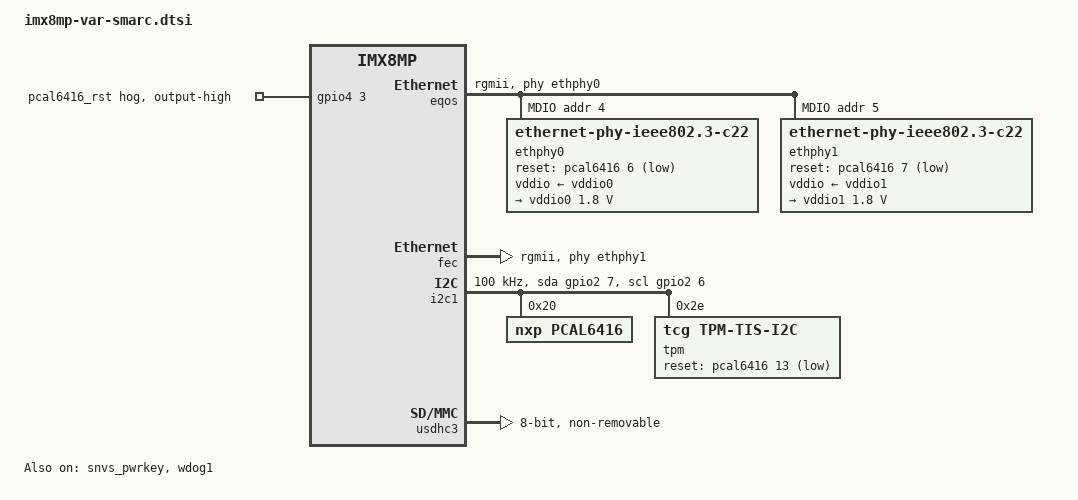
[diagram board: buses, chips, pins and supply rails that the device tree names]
// SPDX-License-Identifier: (GPL-2.0+ OR MIT)
/*
 * Copyright 2019 NXP
 * Copyright 2026 Variscite Ltd.
 */

/dts-v1/;

#include <dt-bindings/usb/pd.h>
#include <dt-bindings/net/mxl-8611x.h>
#include "imx8mp.dtsi"

/ {
	compatible = "variscite,imx8mp-var-smarc", "fsl,imx8mp";

	aliases {
		ethernet0 = &eqos;
		ethernet1 = &fec;
	};
};

&eqos {
	pinctrl-names = "default";
	pinctrl-0 = <&pinctrl_eqos>;
	phy-mode = "rgmii";
	phy-handle = <&ethphy0>;
	status = "okay";

	mdio {
		compatible = "snps,dwmac-mdio";
		#address-cells = <1>;
		#size-cells = <0>;

		ethphy0: ethernet-phy@4 {
			compatible = "ethernet-phy-ieee802.3-c22";
			reg = <4>;
			reset-gpios = <&pcal6416 6 GPIO_ACTIVE_LOW>;
			reset-assert-us = <10000>;
			reset-deassert-us = <100000>;
			vddio-supply = <&vddio0>;
			ti,min-output-impedance;
			enet-phy-lane-no-swap;

			vddio0: vddio-regulator {
				regulator-min-microvolt = <1800000>;
				regulator-max-microvolt = <1800000>;
			};
		};

		ethphy1: ethernet-phy@5 {
			compatible = "ethernet-phy-ieee802.3-c22";
			reg = <5>;
			reset-gpios = <&pcal6416 7 GPIO_ACTIVE_LOW>;
			reset-assert-us = <10000>;
			reset-deassert-us = <100000>;
			vddio-supply = <&vddio1>;
			ti,min-output-impedance;
			enet-phy-lane-no-swap;

			vddio1: vddio-regulator {
				regulator-min-microvolt = <1800000>;
				regulator-max-microvolt = <1800000>;
			};
		};
	};
};

&fec {
	pinctrl-names = "default";
	pinctrl-0 = <&pinctrl_fec>;
	phy-mode = "rgmii";
	phy-handle = <&ethphy1>;
	status = "okay";
};

&gpio4 {
	/* Release the PCAL6416 GPIO expander from reset */
	pcal6416_rst_hog {
		gpio-hog;
		gpios = <3 0>;
		output-high;
		line-name = "pcal6416_rst";
	};
};

&i2c1 {
	clock-frequency = <100000>;
	pinctrl-names = "default", "gpio";
	pinctrl-0 = <&pinctrl_i2c1>;
	pinctrl-1 = <&pinctrl_i2c1_gpio>;
	scl-gpios = <&gpio2 6 GPIO_ACTIVE_HIGH>;
	sda-gpios = <&gpio2 7 GPIO_ACTIVE_HIGH>;
	status = "okay";

	/* GPIO Expander */
	pcal6416: gpio@20 {
		compatible = "nxp,pcal6416";
		#gpio-cells = <2>;
		reg = <0x20>;
		gpio-controller;
		status = "okay";

		/*
		 * The SEC_RSTN line for the TPM2 module has an external
		 * pull-down, keeping the module in reset by default.
		 * Drive this signal high to release the TPM2 from reset.
		 */
		sec_resetn {
			gpio-hog;
			gpios = <13 GPIO_ACTIVE_HIGH>;
			output-high;
			line-name = "sec_rstn";
		};

		/* Assert GRST line on TUSB8041 HUB */
		usb_hub_grst {
			gpio-hog;
			gpios = <11 GPIO_ACTIVE_LOW>;
			output-high;
			line-name = "usb_hub_grst";
		};
	};

	/* TPM */
	st33ktpm2xi2c: st33ktpm2xi2c@2e {
		compatible = "tcg,tpm-tis-i2c";
		label = "tpm";
		reg = <0x2e>;
		/*
		* reset-gpios is not used by the TPM driver, but forces
		* probe ordering: ensures GPIO expander is initialized
		* before the TPM driver probes.
		*/
		reset-gpios = <&pcal6416 13 GPIO_ACTIVE_LOW>;
		status = "okay";
	};
};

&iomuxc {
	pinctrl_eqos: eqosgrp {
		fsl,pins = <
			MX8MP_IOMUXC_ENET_MDC__ENET_QOS_MDC				0x2
			MX8MP_IOMUXC_ENET_MDIO__ENET_QOS_MDIO				0x2
			MX8MP_IOMUXC_ENET_RD0__ENET_QOS_RGMII_RD0			0x90
			MX8MP_IOMUXC_ENET_RD1__ENET_QOS_RGMII_RD1			0x90
			MX8MP_IOMUXC_ENET_RD2__ENET_QOS_RGMII_RD2			0x90
			MX8MP_IOMUXC_ENET_RD3__ENET_QOS_RGMII_RD3			0x90
			MX8MP_IOMUXC_ENET_RXC__CCM_ENET_QOS_CLOCK_GENERATE_RX_CLK	0x90
			MX8MP_IOMUXC_ENET_RX_CTL__ENET_QOS_RGMII_RX_CTL			0x90
			MX8MP_IOMUXC_ENET_TD0__ENET_QOS_RGMII_TD0			0x16
			MX8MP_IOMUXC_ENET_TD1__ENET_QOS_RGMII_TD1			0x16
			MX8MP_IOMUXC_ENET_TD2__ENET_QOS_RGMII_TD2			0x16
			MX8MP_IOMUXC_ENET_TD3__ENET_QOS_RGMII_TD3			0x16
			MX8MP_IOMUXC_ENET_TX_CTL__ENET_QOS_RGMII_TX_CTL			0x16
			MX8MP_IOMUXC_ENET_TXC__CCM_ENET_QOS_CLOCK_GENERATE_TX_CLK	0x16
			MX8MP_IOMUXC_GPIO1_IO10__GPIO1_IO10				0x10
		>;
	};

	pinctrl_fec: fecgrp {
		fsl,pins = <
			MX8MP_IOMUXC_SAI1_RXD4__ENET1_RGMII_RD0				0x90
			MX8MP_IOMUXC_SAI1_RXD5__ENET1_RGMII_RD1				0x90
			MX8MP_IOMUXC_SAI1_RXD6__ENET1_RGMII_RD2				0x90
			MX8MP_IOMUXC_SAI1_RXD7__ENET1_RGMII_RD3				0x90
			MX8MP_IOMUXC_SAI1_TXC__ENET1_RGMII_RXC				0x90
			MX8MP_IOMUXC_SAI1_TXFS__ENET1_RGMII_RX_CTL			0x90
			MX8MP_IOMUXC_SAI1_TXD0__ENET1_RGMII_TD0				0x16
			MX8MP_IOMUXC_SAI1_TXD1__ENET1_RGMII_TD1				0x16
			MX8MP_IOMUXC_SAI1_TXD2__ENET1_RGMII_TD2				0x16
			MX8MP_IOMUXC_SAI1_TXD3__ENET1_RGMII_TD3				0x16
			MX8MP_IOMUXC_SAI1_TXD4__ENET1_RGMII_TX_CTL			0x16
			MX8MP_IOMUXC_SAI1_TXD5__ENET1_RGMII_TXC				0x16
		>;
	};

	pinctrl_i2c1: i2c1grp {
		fsl,pins = <
			MX8MP_IOMUXC_SD1_DATA4__I2C1_SCL				0x400001c2
			MX8MP_IOMUXC_SD1_DATA5__I2C1_SDA				0x400001c2
		>;
	};

	pinctrl_i2c1_gpio: i2c1gpiogrp {
		fsl,pins = <
			MX8MP_IOMUXC_SD1_DATA4__GPIO2_IO06				0x1c2
			MX8MP_IOMUXC_SD1_DATA5__GPIO2_IO07				0x1c2
		>;
	};

	pinctrl_usdhc3: usdhc3grp {
		fsl,pins = <
			MX8MP_IOMUXC_NAND_WE_B__USDHC3_CLK				0x190
			MX8MP_IOMUXC_NAND_WP_B__USDHC3_CMD				0x1d0
			MX8MP_IOMUXC_NAND_DATA04__USDHC3_DATA0				0x1d0
			MX8MP_IOMUXC_NAND_DATA05__USDHC3_DATA1				0x1d0
			MX8MP_IOMUXC_NAND_DATA06__USDHC3_DATA2				0x1d0
			MX8MP_IOMUXC_NAND_DATA07__USDHC3_DATA3				0x1d0
			MX8MP_IOMUXC_NAND_RE_B__USDHC3_DATA4				0x1d0
			MX8MP_IOMUXC_NAND_CE2_B__USDHC3_DATA5				0x1d0
			MX8MP_IOMUXC_NAND_CE3_B__USDHC3_DATA6				0x1d0
			MX8MP_IOMUXC_NAND_CLE__USDHC3_DATA7				0x1d0
			MX8MP_IOMUXC_NAND_CE1_B__USDHC3_STROBE				0x190
		>;
	};

	pinctrl_usdhc3_100mhz: usdhc3-100mhzgrp {
		fsl,pins = <
			MX8MP_IOMUXC_NAND_WE_B__USDHC3_CLK				0x194
			MX8MP_IOMUXC_NAND_WP_B__USDHC3_CMD				0x1d4
			MX8MP_IOMUXC_NAND_DATA04__USDHC3_DATA0				0x1d4
			MX8MP_IOMUXC_NAND_DATA05__USDHC3_DATA1				0x1d4
			MX8MP_IOMUXC_NAND_DATA06__USDHC3_DATA2				0x1d4
			MX8MP_IOMUXC_NAND_DATA07__USDHC3_DATA3				0x1d4
			MX8MP_IOMUXC_NAND_RE_B__USDHC3_DATA4				0x1d4
			MX8MP_IOMUXC_NAND_CE2_B__USDHC3_DATA5				0x1d4
			MX8MP_IOMUXC_NAND_CE3_B__USDHC3_DATA6				0x1d4
			MX8MP_IOMUXC_NAND_CLE__USDHC3_DATA7				0x1d4
			MX8MP_IOMUXC_NAND_CE1_B__USDHC3_STROBE				0x194
		>;
	};

	pinctrl_usdhc3_200mhz: usdhc3-200mhzgrp {
		fsl,pins = <
			MX8MP_IOMUXC_NAND_WE_B__USDHC3_CLK				0x196
			MX8MP_IOMUXC_NAND_WP_B__USDHC3_CMD				0x1d6
			MX8MP_IOMUXC_NAND_DATA04__USDHC3_DATA0				0x1d6
			MX8MP_IOMUXC_NAND_DATA05__USDHC3_DATA1				0x1d6
			MX8MP_IOMUXC_NAND_DATA06__USDHC3_DATA2				0x1d6
			MX8MP_IOMUXC_NAND_DATA07__USDHC3_DATA3				0x1d6
			MX8MP_IOMUXC_NAND_RE_B__USDHC3_DATA4				0x1d6
			MX8MP_IOMUXC_NAND_CE2_B__USDHC3_DATA5				0x1d6
			MX8MP_IOMUXC_NAND_CE3_B__USDHC3_DATA6				0x1d6
			MX8MP_IOMUXC_NAND_CLE__USDHC3_DATA7				0x1d6
			MX8MP_IOMUXC_NAND_CE1_B__USDHC3_STROBE				0x196
		>;
	};

	pinctrl_wdog: wdoggrp {
		fsl,pins = <
			MX8MP_IOMUXC_GPIO1_IO02__WDOG1_WDOG_B				0xc6
		>;
	};
};

&snvs_pwrkey {
	status = "okay";
};

&usdhc3 {
	pinctrl-names = "default", "state_100mhz", "state_200mhz";
	pinctrl-0 = <&pinctrl_usdhc3>;
	pinctrl-1 = <&pinctrl_usdhc3_100mhz>;
	pinctrl-2 = <&pinctrl_usdhc3_200mhz>;
	bus-width = <8>;
	non-removable;
	status = "okay";
};

&wdog1 {
	pinctrl-names = "default";
	pinctrl-0 = <&pinctrl_wdog>;
	fsl,ext-reset-output;
	status = "okay";
};
